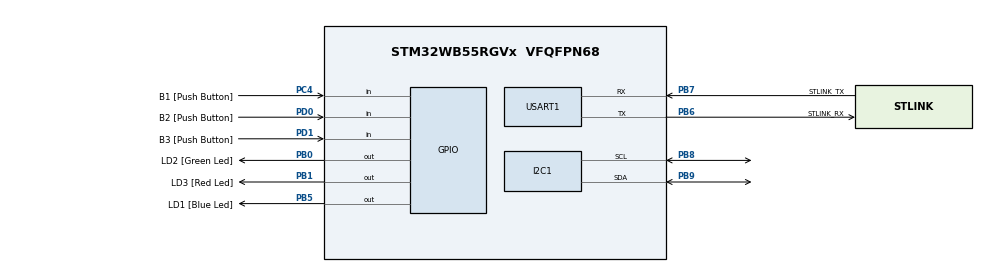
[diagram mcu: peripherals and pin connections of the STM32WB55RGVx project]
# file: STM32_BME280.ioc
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Dma.I2C1_RX.1.Direction=DMA_PERIPH_TO_MEMORY
Dma.I2C1_RX.1.EventEnable=DISABLE
Dma.I2C1_RX.1.Instance=DMA1_Channel2
Dma.I2C1_RX.1.MemDataAlignment=DMA_MDATAALIGN_BYTE
Dma.I2C1_RX.1.MemInc=DMA_MINC_ENABLE
Dma.I2C1_RX.1.Mode=DMA_NORMAL
Dma.I2C1_RX.1.PeriphDataAlignment=DMA_PDATAALIGN_BYTE
Dma.I2C1_RX.1.PeriphInc=DMA_PINC_DISABLE
Dma.I2C1_RX.1.Polarity=HAL_DMAMUX_REQ_GEN_RISING
Dma.I2C1_RX.1.Priority=DMA_PRIORITY_HIGH
Dma.I2C1_RX.1.RequestNumber=1
Dma.I2C1_RX.1.SignalID=NONE
Dma.I2C1_RX.1.SyncEnable=DISABLE
Dma.I2C1_RX.1.SyncPolarity=HAL_DMAMUX_SYNC_NO_EVENT
Dma.I2C1_RX.1.SyncRequestNumber=1
Dma.I2C1_RX.1.SyncSignalID=NONE
Dma.I2C1_TX.2.Direction=DMA_MEMORY_TO_PERIPH
Dma.I2C1_TX.2.EventEnable=DISABLE
Dma.I2C1_TX.2.Instance=DMA1_Channel3
Dma.I2C1_TX.2.MemDataAlignment=DMA_MDATAALIGN_BYTE
Dma.I2C1_TX.2.MemInc=DMA_MINC_ENABLE
Dma.I2C1_TX.2.Mode=DMA_NORMAL
Dma.I2C1_TX.2.PeriphDataAlignment=DMA_PDATAALIGN_BYTE
Dma.I2C1_TX.2.PeriphInc=DMA_PINC_DISABLE
Dma.I2C1_TX.2.Polarity=HAL_DMAMUX_REQ_GEN_RISING
Dma.I2C1_TX.2.Priority=DMA_PRIORITY_LOW
Dma.I2C1_TX.2.RequestNumber=1
Dma.I2C1_TX.2.SignalID=NONE
Dma.I2C1_TX.2.SyncEnable=DISABLE
Dma.I2C1_TX.2.SyncPolarity=HAL_DMAMUX_SYNC_NO_EVENT
Dma.I2C1_TX.2.SyncRequestNumber=1
Dma.I2C1_TX.2.SyncSignalID=NONE
Dma.Request0=USART1_TX
Dma.Request1=I2C1_RX
Dma.Request2=I2C1_TX
Dma.USART1_TX.0.Direction=DMA_MEMORY_TO_PERIPH
Dma.USART1_TX.0.EventEnable=DISABLE
Dma.USART1_TX.0.Instance=DMA1_Channel1
Dma.USART1_TX.0.MemDataAlignment=DMA_MDATAALIGN_BYTE
Dma.USART1_TX.0.MemInc=DMA_MINC_ENABLE
Dma.USART1_TX.0.Mode=DMA_NORMAL
Dma.USART1_TX.0.PeriphDataAlignment=DMA_PDATAALIGN_BYTE
Dma.USART1_TX.0.PeriphInc=DMA_PINC_DISABLE
Dma.USART1_TX.0.Polarity=HAL_DMAMUX_REQ_GEN_RISING
Dma.USART1_TX.0.Priority=DMA_PRIORITY_LOW
Dma.USART1_TX.0.RequestNumber=1
Dma.USART1_TX.0.SignalID=NONE
Dma.USART1_TX.0.SyncEnable=DISABLE
Dma.USART1_TX.0.SyncPolarity=HAL_DMAMUX_SYNC_NO_EVENT
Dma.USART1_TX.0.SyncRequestNumber=1
Dma.USART1_TX.0.SyncSignalID=NONE
I2C1.Timing=0x00707CBB
Mcu.Family=STM32WB
Mcu.Name=STM32WB55RGVx
Mcu.Package=VFQFPN68
NVIC.DMA1_Channel1_IRQn=true\:0\:0\:false\:false\:true\:false\:true
NVIC.DMA1_Channel2_IRQn=true\:0\:0\:false\:false\:true\:false\:true
NVIC.DMA1_Channel3_IRQn=true\:0\:0\:false\:false\:true\:false\:true
NVIC.I2C1_ER_IRQn=true\:0\:0\:false\:false\:true\:true\:true
NVIC.I2C1_EV_IRQn=true\:0\:0\:false\:false\:true\:true\:true
NVIC.PriorityGroup=NVIC_PRIORITYGROUP_4
NVIC.USART1_IRQn=true\:0\:0\:false\:false\:true\:true\:true
OSC_IN.Mode=HSE-External-Oscillator
OSC_IN.Signal=RCC_OSC_IN
OSC_OUT.Mode=HSE-External-Oscillator
OSC_OUT.Signal=RCC_OSC_OUT
PA11.Signal=USB_DM
PA12.Signal=USB_DP
PA13.GPIO_Label=JTMS
PA13.Signal=SYS_JTMS-SWDIO
PA14.GPIO_Label=JTCK
PA14.Signal=SYS_JTCK-SWCLK
PB0.GPIO_Label=LD2 [Green Led]
PB0.Signal=GPIO_Output
PB1.GPIO_Label=LD3 [Red Led]
PB1.Signal=GPIO_Output
PB3.GPIO_Label=JTDO
PB3.Signal=SYS_JTDO-SWO
PB5.GPIO_Label=LD1 [Blue Led]
PB5.Signal=GPIO_Output
PB6.GPIO_Label=STLINK_RX
PB6.Mode=Asynchronous
PB6.Signal=USART1_TX
PB7.GPIO_Label=STLINK_TX
PB7.Mode=Asynchronous
PB7.Signal=USART1_RX
PB8.Mode=I2C
PB8.Signal=I2C1_SCL
PB9.Mode=I2C
PB9.Signal=I2C1_SDA
PC13.Signal=SYS_WKUP2
PC14-OSC32_IN.Signal=RCC_OSC32_IN
PC15-OSC32_OUT.Signal=RCC_OSC32_OUT
PC4.GPIO_Label=B1 [Push Button]
PC4.Signal=GPIO_Input
PD0.GPIO_Label=B2 [Push Button]
PD0.Signal=GPIO_Input
PD1.GPIO_Label=B3 [Push Button]
PD1.Signal=GPIO_Input
ProjectManager.HeapSize=0x200
ProjectManager.StackSize=0x400
ProjectManager.TargetToolchain=Makefile
RCC.ADCFreq_Value=128000000
RCC.AHBFreq_Value=32000000
RCC.APB1Freq_Value=32000000
RCC.APB1TimFreq_Value=32000000
RCC.APB2Freq_Value=32000000
RCC.APB2TimFreq_Value=32000000
RCC.APB3Freq_Value=16000000
RCC.CortexFreq_Value=32000000
RCC.HCLKFreq_Value=32000000
RCC.HSE_VALUE=32000000
RCC.HSI48_VALUE=48000000
RCC.HSI_VALUE=16000000
RCC.LSE_VALUE=32768
RCC.MSIClockRange=RCC_MSIRANGE_10
RCC.SMPSCLockSelectionVirtual=RCC_SMPSCLKSOURCE_HSI
RCC.SYSCLKFreq_VALUE=32000000
RCC.USBFreq_Value=128000000
RCC.VCOOutputFreq_Value=256000000
USART1.VirtualMode-Asynchronous=VM_ASYNC
USART1.WordLength=WORDLENGTH_8B
board=P-NUCLEO-WB55-Nucleo

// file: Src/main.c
/* USER CODE BEGIN Header */
/**
  ******************************************************************************
  * @file           : main.c
  * @brief          : Main program body
  ******************************************************************************
  * @attention
  *
  * <h2><center>&copy; Copyright (c) 2019 STMicroelectronics.
  * All rights reserved.</center></h2>
  *
  * This software component is licensed by ST under BSD 3-Clause license,
  * the "License"; You may not use this file except in compliance with the
  * License. You may obtain a copy of the License at:
  *                        opensource.org/licenses/BSD-3-Clause
  *
  ******************************************************************************
  */
/* USER CODE END Header */

#include "main.h"

/* USER CODE BEGIN Includes */
#include "bme280.h"
/* USER CODE END Includes */

I2C_HandleTypeDef hi2c1;
DMA_HandleTypeDef hdma_i2c1_rx;
DMA_HandleTypeDef hdma_i2c1_tx;

UART_HandleTypeDef huart1;
DMA_HandleTypeDef hdma_usart1_tx;

/* USER CODE BEGIN PV */
struct bme280_dev bme280;
/* USER CODE END PV */

void SystemClock_Config(void);
static void MX_GPIO_Init(void);
static void MX_DMA_Init(void);
static void MX_I2C1_Init(void);
static void MX_USART1_UART_Init(void);
/* USER CODE BEGIN PFP */
void bme280_Init(void);
void user_delay_ms(uint32_t period);
int8_t user_i2c_read(uint8_t dev_id, uint8_t reg_addr, uint8_t *reg_data, uint16_t len);
int8_t user_i2c_write(uint8_t dev_id, uint8_t reg_addr, uint8_t *reg_data, uint16_t len);
void print_sensor_data_serial(struct bme280_data *comp_data);
int8_t stream_sensor_data_forced_mode(struct bme280_dev *dev);
/* USER CODE END PFP */

int main(void)
{

  /* MCU Configuration--------------------------------------------------------*/

  /* Reset of all peripherals, Initializes the Flash interface and the Systick. */
  HAL_Init();

  /* Configure the system clock */
  SystemClock_Config();

  /* Initialize all configured peripherals */
  MX_GPIO_Init();
  MX_DMA_Init();
  MX_I2C1_Init();
  MX_USART1_UART_Init();
  /* USER CODE BEGIN 2 */
  bme280_Init();

  stream_sensor_data_forced_mode(&bme280);
  /* USER CODE END 2 */

  /* Infinite loop */
  while (1)
  {

  }
}

void SystemClock_Config(void)
{
  RCC_OscInitTypeDef RCC_OscInitStruct = {0};
  RCC_ClkInitTypeDef RCC_ClkInitStruct = {0};
  RCC_PeriphCLKInitTypeDef PeriphClkInitStruct = {0};

  /** Configure the main internal regulator output voltage
  */
  __HAL_PWR_VOLTAGESCALING_CONFIG(PWR_REGULATOR_VOLTAGE_SCALE1);
  /** Initializes the CPU, AHB and APB busses clocks
  */
  RCC_OscInitStruct.OscillatorType = RCC_OSCILLATORTYPE_HSI|RCC_OSCILLATORTYPE_HSE
                              |RCC_OSCILLATORTYPE_MSI;
  RCC_OscInitStruct.HSEState = RCC_HSE_ON;
  RCC_OscInitStruct.HSIState = RCC_HSI_ON;
  RCC_OscInitStruct.MSIState = RCC_MSI_ON;
  RCC_OscInitStruct.HSICalibrationValue = RCC_HSICALIBRATION_DEFAULT;
  RCC_OscInitStruct.MSICalibrationValue = RCC_MSICALIBRATION_DEFAULT;
  RCC_OscInitStruct.MSIClockRange = RCC_MSIRANGE_10;
  RCC_OscInitStruct.PLL.PLLState = RCC_PLL_NONE;
  if (HAL_RCC_OscConfig(&RCC_OscInitStruct) != HAL_OK)
  {
    Error_Handler();
  }
  /** Configure the SYSCLKSource, HCLK, PCLK1 and PCLK2 clocks dividers
  */
  RCC_ClkInitStruct.ClockType = RCC_CLOCKTYPE_HCLK4|RCC_CLOCKTYPE_HCLK2
                              |RCC_CLOCKTYPE_HCLK|RCC_CLOCKTYPE_SYSCLK
                              |RCC_CLOCKTYPE_PCLK1|RCC_CLOCKTYPE_PCLK2;
  RCC_ClkInitStruct.SYSCLKSource = RCC_SYSCLKSOURCE_MSI;
  RCC_ClkInitStruct.AHBCLKDivider = RCC_SYSCLK_DIV1;
  RCC_ClkInitStruct.APB1CLKDivider = RCC_HCLK_DIV1;
  RCC_ClkInitStruct.APB2CLKDivider = RCC_HCLK_DIV1;
  RCC_ClkInitStruct.AHBCLK2Divider = RCC_SYSCLK_DIV1;
  RCC_ClkInitStruct.AHBCLK4Divider = RCC_SYSCLK_DIV1;

  if (HAL_RCC_ClockConfig(&RCC_ClkInitStruct, FLASH_LATENCY_1) != HAL_OK)
  {
    Error_Handler();
  }
  /** Initializes the peripherals clocks
  */
  PeriphClkInitStruct.PeriphClockSelection = RCC_PERIPHCLK_SMPS|RCC_PERIPHCLK_USART1
                              |RCC_PERIPHCLK_I2C1;
  PeriphClkInitStruct.Usart1ClockSelection = RCC_USART1CLKSOURCE_PCLK2;
  PeriphClkInitStruct.I2c1ClockSelection = RCC_I2C1CLKSOURCE_PCLK1;
  PeriphClkInitStruct.SmpsClockSelection = RCC_SMPSCLKSOURCE_HSI;
  PeriphClkInitStruct.SmpsDivSelection = RCC_SMPSCLKDIV_RANGE1;

  if (HAL_RCCEx_PeriphCLKConfig(&PeriphClkInitStruct) != HAL_OK)
  {
    Error_Handler();
  }
}

static void MX_I2C1_Init(void)
{

  hi2c1.Instance = I2C1;
  hi2c1.Init.Timing = 0x00707CBB;
  hi2c1.Init.OwnAddress1 = 0;
  hi2c1.Init.AddressingMode = I2C_ADDRESSINGMODE_7BIT;
  hi2c1.Init.DualAddressMode = I2C_DUALADDRESS_DISABLE;
  hi2c1.Init.OwnAddress2 = 0;
  hi2c1.Init.OwnAddress2Masks = I2C_OA2_NOMASK;
  hi2c1.Init.GeneralCallMode = I2C_GENERALCALL_DISABLE;
  hi2c1.Init.NoStretchMode = I2C_NOSTRETCH_DISABLE;
  if (HAL_I2C_Init(&hi2c1) != HAL_OK)
  {
    Error_Handler();
  }
  /** Configure Analogue filter
  */
  if (HAL_I2CEx_ConfigAnalogFilter(&hi2c1, I2C_ANALOGFILTER_ENABLE) != HAL_OK)
  {
    Error_Handler();
  }
  /** Configure Digital filter
  */
  if (HAL_I2CEx_ConfigDigitalFilter(&hi2c1, 0) != HAL_OK)
  {
    Error_Handler();
  }

}

static void MX_USART1_UART_Init(void)
{

  huart1.Instance = USART1;
  huart1.Init.BaudRate = 115200;
  huart1.Init.WordLength = UART_WORDLENGTH_8B;
  huart1.Init.StopBits = UART_STOPBITS_1;
  huart1.Init.Parity = UART_PARITY_NONE;
  huart1.Init.Mode = UART_MODE_TX_RX;
  huart1.Init.HwFlowCtl = UART_HWCONTROL_NONE;
  huart1.Init.OverSampling = UART_OVERSAMPLING_16;
  huart1.Init.OneBitSampling = UART_ONE_BIT_SAMPLE_DISABLE;
  huart1.Init.ClockPrescaler = UART_PRESCALER_DIV1;
  huart1.AdvancedInit.AdvFeatureInit = UART_ADVFEATURE_NO_INIT;
  if (HAL_UART_Init(&huart1) != HAL_OK)
  {
    Error_Handler();
  }
  if (HAL_UARTEx_SetTxFifoThreshold(&huart1, UART_TXFIFO_THRESHOLD_1_8) != HAL_OK)
  {
    Error_Handler();
  }
  if (HAL_UARTEx_SetRxFifoThreshold(&huart1, UART_RXFIFO_THRESHOLD_1_8) != HAL_OK)
  {
    Error_Handler();
  }
  if (HAL_UARTEx_DisableFifoMode(&huart1) != HAL_OK)
  {
    Error_Handler();
  }

}

static void MX_DMA_Init(void)
{

  /* DMA controller clock enable */
  __HAL_RCC_DMAMUX1_CLK_ENABLE();
  __HAL_RCC_DMA1_CLK_ENABLE();

  /* DMA interrupt init */
  /* DMA1_Channel1_IRQn interrupt configuration */
  HAL_NVIC_SetPriority(DMA1_Channel1_IRQn, 0, 0);
  HAL_NVIC_EnableIRQ(DMA1_Channel1_IRQn);
  /* DMA1_Channel2_IRQn interrupt configuration */
  HAL_NVIC_SetPriority(DMA1_Channel2_IRQn, 0, 0);
  HAL_NVIC_EnableIRQ(DMA1_Channel2_IRQn);
  /* DMA1_Channel3_IRQn interrupt configuration */
  HAL_NVIC_SetPriority(DMA1_Channel3_IRQn, 0, 0);
  HAL_NVIC_EnableIRQ(DMA1_Channel3_IRQn);

}

static void MX_GPIO_Init(void)
{
  GPIO_InitTypeDef GPIO_InitStruct = {0};

  /* GPIO Ports Clock Enable */
  __HAL_RCC_GPIOC_CLK_ENABLE();
  __HAL_RCC_GPIOB_CLK_ENABLE();
  __HAL_RCC_GPIOA_CLK_ENABLE();
  __HAL_RCC_GPIOD_CLK_ENABLE();

  /*Configure GPIO pin Output Level */
  HAL_GPIO_WritePin(GPIOB, LD2_Pin|LD3_Pin|LD1_Pin, GPIO_PIN_RESET);

  /*Configure GPIO pin : B1_Pin */
  GPIO_InitStruct.Pin = B1_Pin;
  GPIO_InitStruct.Mode = GPIO_MODE_INPUT;
  GPIO_InitStruct.Pull = GPIO_NOPULL;
  HAL_GPIO_Init(B1_GPIO_Port, &GPIO_InitStruct);

  /*Configure GPIO pins : LD2_Pin LD3_Pin LD1_Pin */
  GPIO_InitStruct.Pin = LD2_Pin|LD3_Pin|LD1_Pin;
  GPIO_InitStruct.Mode = GPIO_MODE_OUTPUT_PP;
  GPIO_InitStruct.Pull = GPIO_NOPULL;
  GPIO_InitStruct.Speed = GPIO_SPEED_FREQ_LOW;
  HAL_GPIO_Init(GPIOB, &GPIO_InitStruct);

  /*Configure GPIO pins : PA11 PA12 */
  GPIO_InitStruct.Pin = GPIO_PIN_11|GPIO_PIN_12;
  GPIO_InitStruct.Mode = GPIO_MODE_AF_PP;
  GPIO_InitStruct.Pull = GPIO_NOPULL;
  GPIO_InitStruct.Speed = GPIO_SPEED_FREQ_LOW;
  GPIO_InitStruct.Alternate = GPIO_AF10_USB;
  HAL_GPIO_Init(GPIOA, &GPIO_InitStruct);

  /*Configure GPIO pins : B2_Pin B3_Pin */
  GPIO_InitStruct.Pin = B2_Pin|B3_Pin;
  GPIO_InitStruct.Mode = GPIO_MODE_INPUT;
  GPIO_InitStruct.Pull = GPIO_NOPULL;
  HAL_GPIO_Init(GPIOD, &GPIO_InitStruct);

}

/* USER CODE BEGIN 4 */
/*-----------------------------------------------------------------------------
 *  BME280 user functions
 *-----------------------------------------------------------------------------*/
void user_delay_ms(uint32_t period)
{
    /*
     * Return control or wait,
     * for a period amount of milliseconds
     */
    HAL_Delay(period);
}

int8_t user_i2c_read(uint8_t dev_id, uint8_t reg_addr, uint8_t *reg_data, uint16_t len)
{
    int8_t rslt = BME280_OK;                    /* Return 0 for Success, non-zero for failure */

    int16_t dev_addr = (uint16_t) dev_id << 1;
    /*
     * The parameter dev_id can be used as a variable to store the I2C address of the device
     */

    /*
     * Data on the bus should be like
     * |------------+---------------------|
     * | I2C action | Data                |
     * |------------+---------------------|
     * | Start      | -                   |
     * | Write      | (reg_addr)          |
     * | Stop       | -                   |
     * | Start      | -                   |
     * | Read       | (reg_data[0])       |
     * | Read       | (....)              |
     * | Read       | (reg_data[len - 1]) |
     * | Stop       | -                   |
     * |------------+---------------------|
     */

    do
    {
        if (HAL_I2C_Master_Transmit_DMA(&hi2c1, dev_addr, (uint8_t*) &reg_addr, 1)!= HAL_OK)
        {
            /* Error_Handler() function is called when error occurs. */
            Error_Handler();
            rslt = BME280_E_COMM_FAIL;
        }

        while (HAL_I2C_GetState(&hi2c1) != HAL_I2C_STATE_READY)
        {
        }

        if(HAL_I2C_Master_Receive_DMA(&hi2c1, dev_addr, (uint8_t*) reg_data, len) != HAL_OK)
        {
            /* Error_Handler() function is called when error occurs. */
            Error_Handler();
            rslt = BME280_E_COMM_FAIL;
        }
        while (HAL_I2C_GetState(&hi2c1) != HAL_I2C_STATE_READY)
        {
        }
    }
    while (HAL_I2C_GetError(&hi2c1) == HAL_I2C_ERROR_AF);

    return rslt;
}

int8_t user_i2c_write(uint8_t dev_id, uint8_t reg_addr, uint8_t *reg_data, uint16_t len)
{
    int8_t rslt = BME280_OK;                    /* Return 0 for Success, non-zero for failure */

    uint8_t *cmd;
    int16_t dev_addr = (uint16_t) dev_id << 1;
     /*
     * The parameter dev_id can be used as a variable to store the I2C address of the device
     */

    /*
     * Data on the bus should be like
     * |------------+---------------------|
     * | I2C action | Data                |
     * |------------+---------------------|
     * | Start      | -                   |
     * | Write      | (reg_addr)          |
     * | Write      | (reg_data[0])       |
     * | Write      | (....)              |
     * | Write      | (reg_data[len - 1]) |
     * | Stop       | -                   |
     * |------------+---------------------|
     */

    /* Allocate memory for the command that is to be written on the bus*/
    cmd = (uint8_t *) malloc(sizeof(uint8_t) * len * 2);

    int n;
    for (int i=0; i<len; i++) {                 /* Build write command */
        n = 2*i;
        cmd[n] = reg_addr+i;                    /* register address */
        cmd[n+1] = reg_data[i];                 /* register data */
    }

    do
    {

        if (HAL_I2C_Master_Transmit_DMA(&hi2c1, dev_addr, (uint8_t *) cmd, len*2) != HAL_OK)    /* Send command */
        {
            Error_Handler();
            rslt = BME280_E_COMM_FAIL;
        }

        while (HAL_I2C_GetState(&hi2c1) != HAL_I2C_STATE_READY)
        {
        }
    }
    while (HAL_I2C_GetError(&hi2c1) == HAL_I2C_ERROR_AF);

    free(cmd);                                  /* Free buffer */
    return rslt;
}

void bme280_Init(void)
{
    bme280.dev_id = BME280_I2C_ADDR_PRIM;
    bme280.intf = BME280_I2C_INTF;
    bme280.read = user_i2c_read;
    bme280.write = user_i2c_write;
    bme280.delay_ms = user_delay_ms;

    bme280_init(&bme280);
}

void print_sensor_data_serial(struct bme280_data *comp_data)
{
    float temp, press, hum;
#ifdef BME280_FLOAT_ENABLE
    temp = comp_data->temperature;
    press = 0.01 * comp_data->pressure;
    hum = comp_data->humidity;
#else
#ifdef BME280_64BIT_ENABLE
    temp = 0.01f * comp_data->temperature;
    press = 0.0001f * comp_data->pressure;
    hum = 1.0f / 1024.0f * comp_data->humidity;
#else
    temp = 0.01f * comp_data->temperature;
    press = 0.01f * comp_data->pressure;
    hum = 1.0f / 1024.0f * comp_data->humidity;
#endif
#endif
    printf("%0.2lf deg C, %0.2lf hPa, %0.2lf%%\n\r", temp, press, hum);
}

int8_t stream_sensor_data_forced_mode(struct bme280_dev *dev)
{
    int8_t rslt;
    uint8_t settings_sel;
    struct bme280_data comp_data;
    dev->settings.osr_h = BME280_OVERSAMPLING_1X;
    dev->settings.osr_p = BME280_OVERSAMPLING_16X;
    dev->settings.osr_t = BME280_OVERSAMPLING_2X;
    dev->settings.filter = BME280_FILTER_COEFF_16;

    settings_sel = BME280_OSR_PRESS_SEL | BME280_OSR_TEMP_SEL | BME280_OSR_HUM_SEL | BME280_FILTER_SEL;
    rslt = bme280_set_sensor_settings(settings_sel, dev);
	if (rslt != BME280_OK)
	{
		printf("Failed to set sensor settings (code %+d).", rslt);
		return rslt;
	}

    printf("Temperature, Pressure, Humidity\n");
    /* Continuously stream sensor data */
    while (1)
    {
        rslt = bme280_set_sensor_mode(BME280_FORCED_MODE, dev);
        if (rslt != BME280_OK)
        {
            printf("Failed to set sensor mode (code %+d).", rslt);
            break;
        }
        /* Wait for the measurement to complete and print data @25Hz */
        dev->delay_ms(500);
        rslt = bme280_get_sensor_data(BME280_ALL, &comp_data, dev);
        if (rslt != BME280_OK)
        {
            printf("Failed to get sensor data (code %+d).", rslt);
            break;
        }
        print_sensor_data_serial(&comp_data);
    }

    return rslt;
}
/**
  * @brief  Tx Transfer completed callback
  * @param  hi2c: I2C handle.
  * @note   This example shows a simple way to report end of DMA Tx transfer, and
  *         you can add your own implementation.
  * @retval None
  */
void HAL_I2C_TxCpltCallback(I2C_HandleTypeDef *hi2c)
{
    HAL_GPIO_TogglePin(LD2_GPIO_Port, LD2_Pin);
}

/**
  * @brief  Rx Transfer completed callback
  * @param  hi2c: I2C handle.
  * @note   This example shows a simple way to report end of DMA Rx transfer, and
  *         you can add your own implementation.
  * @retval None
  */
void HAL_I2C_RxCpltCallback(I2C_HandleTypeDef *hi2c)
{
    HAL_GPIO_TogglePin(LD2_GPIO_Port, LD2_Pin);
}
/**
  * @brief  Tx Transfer completed callback
  * @param  huart: UART handle.
  * @note   This example shows a simple way to report end of DMA Tx transfer, and
  *         you can add your own implementation.
  * @retval None
  */
void HAL_UART_TxCpltCallback(UART_HandleTypeDef *huart)
{
    HAL_GPIO_TogglePin(LD1_GPIO_Port, LD1_Pin);
}

/**
  * @brief  Rx Transfer completed callback
  * @param  huart: UART handle
  * @note   This example shows a simple way to report end of DMA Rx transfer, and
  *         you can add your own implementation.
  * @retval None
  */
void HAL_UART_RxCpltCallback(UART_HandleTypeDef *huart)
{
    HAL_GPIO_TogglePin(LD1_GPIO_Port, LD1_Pin);
}

/**
  * @brief  UART error callbacks
  * @param  huart: UART handle
  * @note   This example shows a simple way to report transfer error, and you can
  *         add your own implementation.
  * @retval None
  */
void HAL_UART_ErrorCallback(UART_HandleTypeDef *huart)
{
  /* Turn LED3 on: Transfer error in reception/transmission process */
  HAL_GPIO_TogglePin(LD3_GPIO_Port, LD3_Pin);
}
/* USER CODE END 4 */

void Error_Handler(void)
{
  /* USER CODE BEGIN Error_Handler_Debug */
  /* User can add his own implementation to report the HAL error return state */
  while (1)
  {
      HAL_GPIO_TogglePin(LD3_GPIO_Port, LD3_Pin);
      HAL_Delay(333);
      HAL_GPIO_TogglePin(LD3_GPIO_Port, LD3_Pin);
      HAL_Delay(333);
  }
  /* USER CODE END Error_Handler_Debug */
}

/************************ (C) COPYRIGHT STMicroelectronics *****END OF FILE****/
